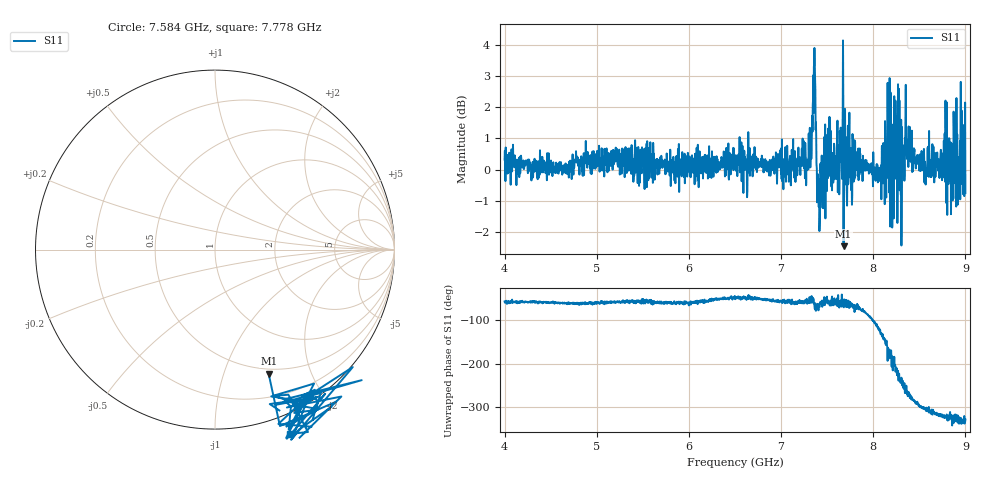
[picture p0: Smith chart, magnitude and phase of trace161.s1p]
! Created with skrf 1.8.0 (http://scikit-rf.org).
# Hz S RI R 50.0
!freq ReS11 ImS11
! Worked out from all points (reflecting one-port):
!   1601 points, 4 GHz to 9 GHz, reference 50 ohm
!   lowest |S11| = -2.5 dB at 7.678 GHz (marker M1), VSWR 7.13, Z = 22.2 - j71.3 ohm
!   phase of S11 starts at -56 deg and turns -272 deg over the sweep
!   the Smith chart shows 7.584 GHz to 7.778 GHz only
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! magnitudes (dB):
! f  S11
! 4 GHz  0.3
! 4.625 GHz  -0.2
! 5.25 GHz  -0.2
! 5.875 GHz  -0.2
! 6.5 GHz  0.5
! 7.125 GHz  0.4
! 7.297 GHz  0.0
! 7.356 GHz  3.3
! 7.412 GHz  -0.6
! 7.509 GHz  -0.3
! 7.609 GHz  1.2
! 7.641 GHz  0.3
! 7.65 GHz  0.8
! 7.678 GHz  -2.5
! 7.703 GHz  0.1
! 7.75 GHz  0.1
! 8.066 GHz  0.1
! 8.153 GHz  -0.3
! 8.197 GHz  -1.0
! 8.253 GHz  0.2
! 8.312 GHz  1.4
! 8.338 GHz  -0.4
! 8.375 GHz  0.9
! 8.559 GHz  0.3
! 8.784 GHz  2.2
! 8.844 GHz  -1.4
! 8.972 GHz  1.0
! 9 GHz  -0.8
